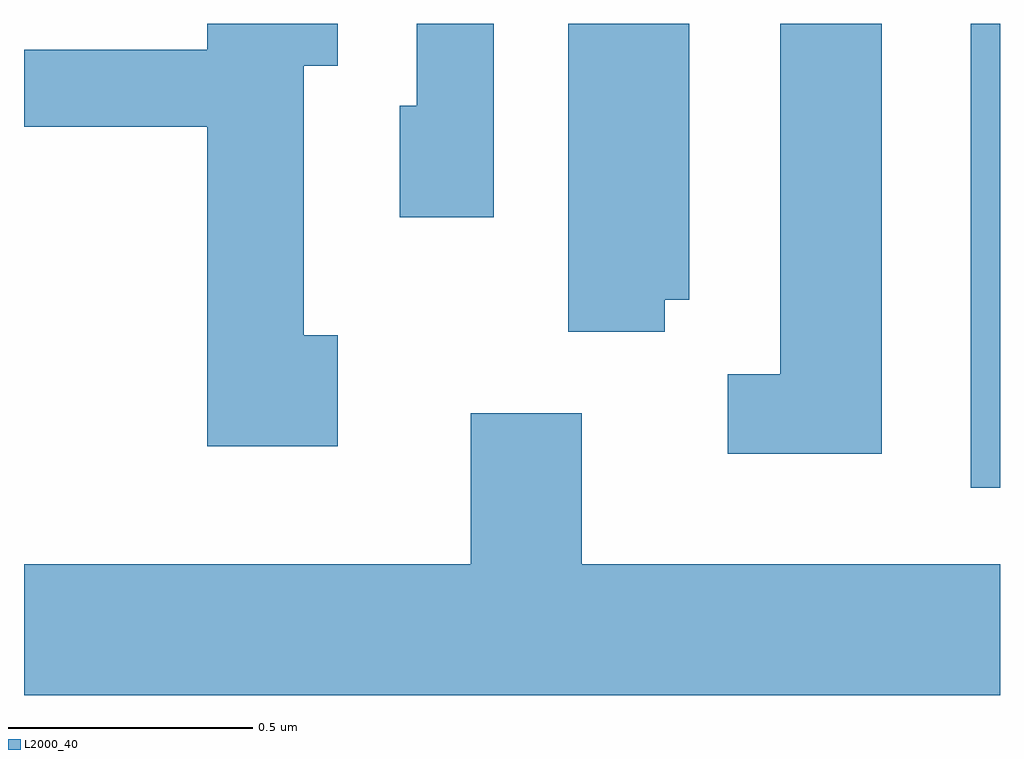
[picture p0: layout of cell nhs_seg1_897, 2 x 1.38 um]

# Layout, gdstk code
import gdstk
lib = gdstk.Library(unit=1e-6, precision=1e-09)
def R(c, l, rs):  # rectangles x0, y0, x1, y1
    for r in rs: c.add(gdstk.rectangle(r[:2], r[2:], *l))
def P(c, l, *ps):  # polygons
    for p in ps: c.add(gdstk.Polygon(p, *l))
L2000_40 = (2000, 40)

nhs_seg1_897 = lib.new_cell('nhs_seg1_897')
R(nhs_seg1_897, L2000_40, [(193.551,917.761,193.611,918.712)])
P(nhs_seg1_897, L2000_40, [(192.254,918.074),(192.184,918.074),(192.184,918.626),(192.254,918.626),(192.254,918.712),(191.986,918.712),(191.986,918.659),(191.611,918.659),(191.611,918.501),(191.986,918.501),(191.986,917.846),(192.254,917.846)],
  [(192.924,918.146),(192.974,918.146),(192.974,918.712),(192.726,918.712),(192.726,918.081),(192.924,918.081)],
  [(193.369,918.712),(193.161,918.712),(193.161,917.994),(193.053,917.994),(193.053,917.831),(193.369,917.831)],
  [(192.574,918.712),(192.416,918.712),(192.416,918.544),(192.381,918.544),(192.381,918.316),(192.574,918.316)],
  [(193.611,917.604),(192.754,917.604),(192.754,917.914),(192.526,917.914),(192.526,917.604),(191.611,917.604),(191.611,917.336),(193.611,917.336)])

lib.write_gds('nhs_seg1_897.gds')
